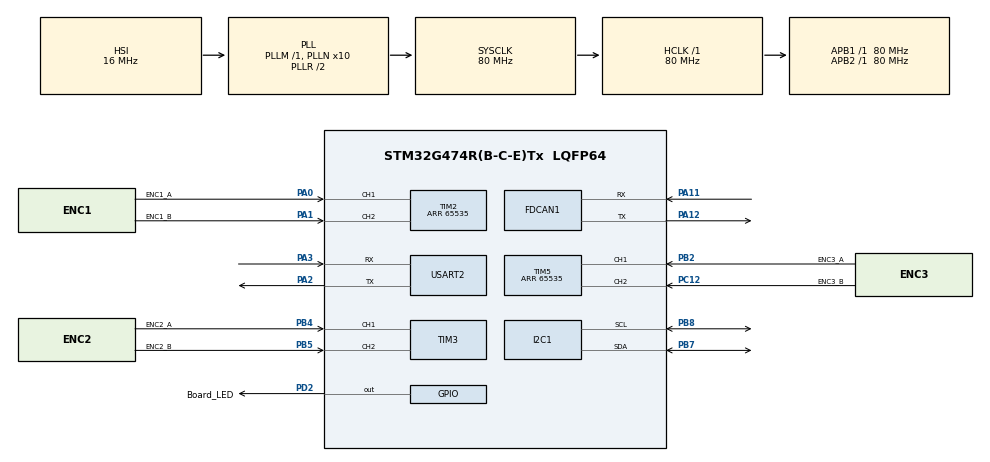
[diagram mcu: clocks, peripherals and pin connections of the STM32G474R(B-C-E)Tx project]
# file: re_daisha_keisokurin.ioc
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FDCAN1.CalculateBaudRateNominal=1000000
FDCAN1.CalculateTimeBitNominal=1000
FDCAN1.CalculateTimeQuantumNominal=50.0
FDCAN1.DataPrescaler=2
FDCAN1.DataTimeSeg1=15
FDCAN1.DataTimeSeg2=4
FDCAN1.FrameFormat=FDCAN_FRAME_FD_BRS
FDCAN1.NominalPrescaler=4
FDCAN1.NominalTimeSeg1=15
FDCAN1.NominalTimeSeg2=4
FDCAN1.StdFiltersNbr=1
I2C1.Timing=0x10D19CE4
Mcu.Family=STM32G4
Mcu.Name=STM32G474R(B-C-E)Tx
Mcu.Package=LQFP64
NVIC.FDCAN1_IT0_IRQn=true\:0\:0\:false\:false\:true\:true\:true\:true
NVIC.FDCAN1_IT1_IRQn=true\:0\:0\:false\:false\:true\:true\:true\:true
NVIC.I2C1_ER_IRQn=true\:0\:0\:false\:false\:true\:true\:true\:true
NVIC.I2C1_EV_IRQn=true\:0\:0\:false\:false\:true\:true\:true\:true
NVIC.PriorityGroup=NVIC_PRIORITYGROUP_4
NVIC.TIM1_UP_TIM16_IRQn=true\:0\:0\:false\:false\:true\:true\:true\:true
NVIC.TIM2_IRQn=true\:0\:0\:false\:false\:true\:true\:true\:true
NVIC.TIM3_IRQn=true\:0\:0\:false\:false\:true\:true\:true\:true
NVIC.TIM5_IRQn=true\:0\:0\:false\:false\:true\:true\:true\:true
NVIC.TIM6_DAC_IRQn=true\:2\:0\:true\:false\:true\:true\:true\:true
NVIC.TIM7_DAC_IRQn=true\:1\:0\:true\:false\:true\:true\:true\:true
NVIC.USART2_IRQn=true\:15\:0\:true\:false\:true\:true\:true\:true
PA0.GPIO_Label=ENC1_A
PA0.GPIO_PuPd=GPIO_PULLUP
PA0.Signal=S_TIM2_CH1
PA1.GPIO_Label=ENC1_B
PA1.GPIO_PuPd=GPIO_PULLUP
PA1.Signal=S_TIM2_CH2
PA11.Mode=FDCAN_Activate
PA11.Signal=FDCAN1_RX
PA12.Mode=FDCAN_Activate
PA12.Signal=FDCAN1_TX
PA2.Mode=Asynchronous
PA2.Signal=USART2_TX
PA3.Mode=Asynchronous
PA3.Signal=USART2_RX
PB2.GPIO_Label=ENC3_A
PB2.GPIO_PuPd=GPIO_PULLUP
PB2.Signal=S_TIM5_CH1
PB4.GPIO_Label=ENC2_A
PB4.GPIO_PuPd=GPIO_PULLUP
PB4.Signal=S_TIM3_CH1
PB5.GPIO_Label=ENC2_B
PB5.GPIO_PuPd=GPIO_PULLUP
PB5.Signal=S_TIM3_CH2
PB7.GPIO_Pu=GPIO_PULLUP
PB7.Mode=I2C
PB7.Signal=I2C1_SDA
PB8-BOOT0.GPIO_Pu=GPIO_PULLUP
PB8-BOOT0.Mode=I2C
PB8-BOOT0.Signal=I2C1_SCL
PC12.GPIO_Label=ENC3_B
PC12.GPIO_PuPd=GPIO_PULLUP
PC12.Signal=S_TIM5_CH2
PD2.GPIO_Label=Board_LED
PD2.Signal=GPIO_Output
ProjectManager.HeapSize=0x200
ProjectManager.StackSize=0x400
ProjectManager.TargetToolchain=STM32CubeIDE
RCC.ADC12Freq_Value=80000000
RCC.ADC345Freq_Value=80000000
RCC.AHBFreq_Value=80000000
RCC.APB1Freq_Value=80000000
RCC.APB1TimFreq_Value=80000000
RCC.APB2Freq_Value=80000000
RCC.APB2TimFreq_Value=80000000
RCC.CortexFreq_Value=80000000
RCC.EXTERNAL_CLOCK_VALUE=12288000
RCC.HCLKFreq_Value=80000000
RCC.HSE_VALUE=8000000
RCC.HSI48_VALUE=48000000
RCC.HSI_VALUE=16000000
RCC.LSE_VALUE=32768
RCC.PLLN=10
RCC.SYSCLKFreq_VALUE=80000000
RCC.SYSCLKSource=RCC_SYSCLKSOURCE_PLLCLK
RCC.USBFreq_Value=80000000
RCC.VCOOutputFreq_Value=160000000
SH.S_TIM2_CH1.0=TIM2_CH1,Encoder_Interface
SH.S_TIM2_CH2.0=TIM2_CH2,Encoder_Interface
SH.S_TIM3_CH1.0=TIM3_CH1,Encoder_Interface
SH.S_TIM3_CH2.0=TIM3_CH2,Encoder_Interface
SH.S_TIM5_CH1.0=TIM5_CH1,Encoder_Interface
SH.S_TIM5_CH2.0=TIM5_CH2,Encoder_Interface
TIM16.PeriodNoDither=7999
TIM16.Prescaler=9
TIM2.PeriodNoDither=65535
TIM5.PeriodNoDither=65535
TIM6.PeriodNoDither=7999
TIM6.Prescaler=99
TIM7.PeriodNoDither=7999
TIM7.Prescaler=9
USART2.VirtualMode-Asynchronous=VM_ASYNC
VP_SYS_VS_DBSignals.Mode=DisableDeadBatterySignals
VP_TIM16_VS_ClockSourceINT.Mode=Enable_Timer
VP_TIM6_VS_ClockSourceINT.Mode=Enable_Timer
VP_TIM7_VS_ClockSourceINT.Mode=Enable_Timer
board=custom

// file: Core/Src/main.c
/* USER CODE BEGIN Header */
/**
  ******************************************************************************
  * @file           : main.c
  * @brief          : Main program body
  ******************************************************************************
  * @attention
  *
  * Copyright (c) 2024 STMicroelectronics.
  * All rights reserved.
  *
  * This software is licensed under terms that can be found in the LICENSE file
  * in the root directory of this software component.
  * If no LICENSE file comes with this software, it is provided AS-IS.
  *
  ******************************************************************************
  */
/* USER CODE END Header */
#include "main.h"

/* USER CODE BEGIN Includes */
#include <stdio.h>
#include <string.h>
#include <math.h>
#include "t_semi_can_lib.h"
/* USER CODE END Includes */

/* USER CODE BEGIN PTD */
typedef struct {
	volatile int16_t pulse;
	volatile float vel;//rad/s
}Encoder;
/* USER CODE END PTD */

/* USER CODE BEGIN PD */
#define TRUE 1
#define FALSE 0

#define ERROR_STATE -1
#define INITIALIZE_STATE 0
#define MOVE_STATE 1

#define STATE_CANID_P_DOWN 0x100
#define STATE_CANID_P_UP 0x101

#define ID 2

#define STATE_CANID_DOWN STATE_CANID_P_DOWN + (ID*16)
#define STATE_CANID_UP STATE_CANID_P_UP + (ID*16)

#define ODOMETRY_SENSOR_SENSOR 0x200
#define VELOCITY_SENSOR 0x201

#define r 60//mm
#define R 144//mm
/* USER CODE END PD */

FDCAN_HandleTypeDef hfdcan1;

I2C_HandleTypeDef hi2c1;

TIM_HandleTypeDef htim2;
TIM_HandleTypeDef htim3;
TIM_HandleTypeDef htim5;
TIM_HandleTypeDef htim6;
TIM_HandleTypeDef htim7;
TIM_HandleTypeDef htim16;

UART_HandleTypeDef huart2;

/* USER CODE BEGIN PV */

FDCAN_TxHeaderTypeDef TxHeader;
FDCAN_RxHeaderTypeDef RxHeader;

int8_t state = ERROR_STATE;
int8_t sub_state;

volatile float x = 0, y = 0;//mm
volatile float theta = 0;//rad

volatile float vx = 0, vy = 0;//m/s
volatile float omega = 0;//rad

Encoder encoder[3] = {};

int8_t flag_cal = 1;
/* USER CODE END PV */

void SystemClock_Config(void);
static void MX_GPIO_Init(void);
static void MX_FDCAN1_Init(void);
static void MX_USART2_UART_Init(void);
static void MX_TIM6_Init(void);
static void MX_TIM7_Init(void);
static void MX_TIM16_Init(void);
static void MX_I2C1_Init(void);
static void MX_TIM2_Init(void);
static void MX_TIM3_Init(void);
static void MX_TIM5_Init(void);
/* USER CODE BEGIN PFP */
void CAN_SEND_printf(uint32_t, uint8_t*);
void CAN(uint32_t, float32_t*);
void interboard_comms_CAN_RxTxSettings_nhk2025_init(void);

int16_t read_encoder_value(int16_t num);
void vel_calc(float Theta, float w1, float w2, float w3, float *Vx, float *Vy, float *Omega);
void zahyo_CAN(float X, float Y, float Theta);
void vel_CAN(float Vx, float Vy, float Omega);

/* USER CODE END PFP */

/* USER CODE BEGIN 0 */
void HAL_FDCAN_RxFifo1Callback(FDCAN_HandleTypeDef *hfdcan, uint32_t RxFifo1ITs){
	if (RESET != (RxFifo1ITs & FDCAN_IT_RX_FIFO1_NEW_MESSAGE)) {

	        /* Retrieve Rx messages from RX FIFO0 */
		uint8_t RxData[64] = {};
		if (HAL_OK != HAL_FDCAN_GetRxMessage(&hfdcan1, FDCAN_RX_FIFO1, &RxHeader, RxData)) {
			printf("fdcan_getrxmessage is error\r\n");
			Error_Handler();
		}
		float32_t RxData_f32[16] = {};
		convert_u8_f32(RxData, RxData_f32);

		if (STATE_CANID_DOWN == RxHeader.Identifier) {
			if (INITIALIZE_STATE == RxData_f32[0]) {
				state = RxData_f32[0];
			}
			else if (ERROR_STATE == RxData_f32[0]) {
				state = RxData_f32[0];
			}
		}
	}
}

void HAL_TIM_PeriodElapsedCallback(TIM_HandleTypeDef *htim){
	if (&htim6 == htim) {
		float32_t TxData_f32[16] = {};
		TxData_f32[0] = (float32_t)state;
		TxData_f32[1] = (float32_t)sub_state;
		CAN(STATE_CANID_UP, TxData_f32);
	}
	else if (&htim7 == htim) {

	}
	else if (&htim16 == htim) {
		float dt = 0.001;//s
		float ppr[3] = {1000, 1000, 1000};
		for (int i = 0; i < 3; i++) {
			encoder[i].pulse = read_encoder_value(i);
			encoder[i].vel = 2*M_PI*((float)encoder[i].pulse/ppr[i])/dt;
		}
		float v_v[3] = {};
		vel_calc(theta, encoder[0].vel, encoder[1].vel, encoder[2].vel, &v_v[0], &v_v[1], &v_v[2]);
		if (0 == flag_cal) {
			x 	  += v_v[0] * dt;
			y 	  += v_v[1] * dt;
			theta += v_v[2] * dt	;
		}
		else {
			x 	  += (vx 	+ v_v[0])/2*dt;
			y 	  += (vy 	+ v_v[1])/2*dt;
			theta += (omega + v_v[2])/2*dt;
		}
		vx 	  = v_v[0];
		vy 	  = v_v[1];
		omega = v_v[2];
	}
}

int _write(int file, char *ptr, int len)
{
    HAL_UART_Transmit(&huart2,(uint8_t *)ptr,len,10);
    return len;
}
/* USER CODE END 0 */

int main(void)
{

  /* USER CODE BEGIN 1 */
	setbuf(stdout, NULL);
  /* USER CODE END 1 */

  /* MCU Configuration--------------------------------------------------------*/

  /* Reset of all peripherals, Initializes the Flash interface and the Systick. */
  HAL_Init();

  /* Configure the system clock */
  SystemClock_Config();

  /* Initialize all configured peripherals */
  MX_GPIO_Init();
  MX_FDCAN1_Init();
  MX_USART2_UART_Init();
  MX_TIM6_Init();
  MX_TIM7_Init();
  MX_TIM16_Init();
  MX_I2C1_Init();
  MX_TIM2_Init();
  MX_TIM3_Init();
  MX_TIM5_Init();
  /* USER CODE BEGIN 2 */
  printf("start\r\n");
  printf("can start\r\n");
  //FDCAN_RxTxSettings();
  interboard_comms_CAN_RxTxSettings_nhk2025_init();
  HAL_TIM_Base_Start_IT(&htim6);
  HAL_TIM_Base_Start_IT(&htim7);
  HAL_TIM_Base_Start_IT(&htim16);
  HAL_TIM_Encoder_Start(&htim2, TIM_CHANNEL_ALL);
  HAL_TIM_Encoder_Start(&htim3, TIM_CHANNEL_ALL);
  HAL_TIM_Encoder_Start(&htim5, TIM_CHANNEL_ALL);
  /* USER CODE END 2 */

  /* Infinite loop */
  /* USER CODE BEGIN WHILE */
  while (1)
  {
	  if (ERROR_STATE == state) {
		  state = MOVE_STATE;
	  }
	  else if (INITIALIZE_STATE == state) {

	  }
	  else if (MOVE_STATE == state) {
		  printf("%f %f %f\r\n", x, y, theta);
		  //for (int i = 0; i < 3; i++) printf("%d ", encoder[i].pulse);
		  zahyo_CAN(x, y, theta);
		  vel_CAN(vx, vy, omega);
	  }
	  printf("\r\n");
	  HAL_Delay(10);
    /* USER CODE END WHILE */

  }
}

void SystemClock_Config(void)
{
  RCC_OscInitTypeDef RCC_OscInitStruct = {0};
  RCC_ClkInitTypeDef RCC_ClkInitStruct = {0};

  /** Configure the main internal regulator output voltage
  */
  HAL_PWREx_ControlVoltageScaling(PWR_REGULATOR_VOLTAGE_SCALE1);

  /** Initializes the RCC Oscillators according to the specified parameters
  * in the RCC_OscInitTypeDef structure.
  */
  RCC_OscInitStruct.OscillatorType = RCC_OSCILLATORTYPE_HSI;
  RCC_OscInitStruct.HSIState = RCC_HSI_ON;
  RCC_OscInitStruct.HSICalibrationValue = RCC_HSICALIBRATION_DEFAULT;
  RCC_OscInitStruct.PLL.PLLState = RCC_PLL_ON;
  RCC_OscInitStruct.PLL.PLLSource = RCC_PLLSOURCE_HSI;
  RCC_OscInitStruct.PLL.PLLM = RCC_PLLM_DIV1;
  RCC_OscInitStruct.PLL.PLLN = 10;
  RCC_OscInitStruct.PLL.PLLP = RCC_PLLP_DIV2;
  RCC_OscInitStruct.PLL.PLLQ = RCC_PLLQ_DIV2;
  RCC_OscInitStruct.PLL.PLLR = RCC_PLLR_DIV2;
  if (HAL_RCC_OscConfig(&RCC_OscInitStruct) != HAL_OK)
  {
    Error_Handler();
  }

  /** Initializes the CPU, AHB and APB buses clocks
  */
  RCC_ClkInitStruct.ClockType = RCC_CLOCKTYPE_HCLK|RCC_CLOCKTYPE_SYSCLK
                              |RCC_CLOCKTYPE_PCLK1|RCC_CLOCKTYPE_PCLK2;
  RCC_ClkInitStruct.SYSCLKSource = RCC_SYSCLKSOURCE_PLLCLK;
  RCC_ClkInitStruct.AHBCLKDivider = RCC_SYSCLK_DIV1;
  RCC_ClkInitStruct.APB1CLKDivider = RCC_HCLK_DIV1;
  RCC_ClkInitStruct.APB2CLKDivider = RCC_HCLK_DIV1;

  if (HAL_RCC_ClockConfig(&RCC_ClkInitStruct, FLASH_LATENCY_2) != HAL_OK)
  {
    Error_Handler();
  }
}

static void MX_FDCAN1_Init(void)
{

  hfdcan1.Instance = FDCAN1;
  hfdcan1.Init.ClockDivider = FDCAN_CLOCK_DIV1;
  hfdcan1.Init.FrameFormat = FDCAN_FRAME_FD_BRS;
  hfdcan1.Init.Mode = FDCAN_MODE_NORMAL;
  hfdcan1.Init.AutoRetransmission = DISABLE;
  hfdcan1.Init.TransmitPause = DISABLE;
  hfdcan1.Init.ProtocolException = DISABLE;
  hfdcan1.Init.NominalPrescaler = 4;
  hfdcan1.Init.NominalSyncJumpWidth = 1;
  hfdcan1.Init.NominalTimeSeg1 = 15;
  hfdcan1.Init.NominalTimeSeg2 = 4;
  hfdcan1.Init.DataPrescaler = 2;
  hfdcan1.Init.DataSyncJumpWidth = 1;
  hfdcan1.Init.DataTimeSeg1 = 15;
  hfdcan1.Init.DataTimeSeg2 = 4;
  hfdcan1.Init.StdFiltersNbr = 1;
  hfdcan1.Init.ExtFiltersNbr = 0;
  hfdcan1.Init.TxFifoQueueMode = FDCAN_TX_FIFO_OPERATION;
  if (HAL_FDCAN_Init(&hfdcan1) != HAL_OK)
  {
    Error_Handler();
  }

}

static void MX_I2C1_Init(void)
{

  hi2c1.Instance = I2C1;
  hi2c1.Init.Timing = 0x10D19CE4;
  hi2c1.Init.OwnAddress1 = 0;
  hi2c1.Init.AddressingMode = I2C_ADDRESSINGMODE_7BIT;
  hi2c1.Init.DualAddressMode = I2C_DUALADDRESS_DISABLE;
  hi2c1.Init.OwnAddress2 = 0;
  hi2c1.Init.OwnAddress2Masks = I2C_OA2_NOMASK;
  hi2c1.Init.GeneralCallMode = I2C_GENERALCALL_DISABLE;
  hi2c1.Init.NoStretchMode = I2C_NOSTRETCH_DISABLE;
  if (HAL_I2C_Init(&hi2c1) != HAL_OK)
  {
    Error_Handler();
  }

  /** Configure Analogue filter
  */
  if (HAL_I2CEx_ConfigAnalogFilter(&hi2c1, I2C_ANALOGFILTER_ENABLE) != HAL_OK)
  {
    Error_Handler();
  }

  /** Configure Digital filter
  */
  if (HAL_I2CEx_ConfigDigitalFilter(&hi2c1, 0) != HAL_OK)
  {
    Error_Handler();
  }

}

static void MX_TIM2_Init(void)
{

  TIM_Encoder_InitTypeDef sConfig = {0};
  TIM_MasterConfigTypeDef sMasterConfig = {0};

  htim2.Instance = TIM2;
  htim2.Init.Prescaler = 0;
  htim2.Init.CounterMode = TIM_COUNTERMODE_UP;
  htim2.Init.Period = 65535;
  htim2.Init.ClockDivision = TIM_CLOCKDIVISION_DIV1;
  htim2.Init.AutoReloadPreload = TIM_AUTORELOAD_PRELOAD_DISABLE;
  sConfig.EncoderMode = TIM_ENCODERMODE_TI1;
  sConfig.IC1Polarity = TIM_ICPOLARITY_RISING;
  sConfig.IC1Selection = TIM_ICSELECTION_DIRECTTI;
  sConfig.IC1Prescaler = TIM_ICPSC_DIV1;
  sConfig.IC1Filter = 0;
  sConfig.IC2Polarity = TIM_ICPOLARITY_RISING;
  sConfig.IC2Selection = TIM_ICSELECTION_DIRECTTI;
  sConfig.IC2Prescaler = TIM_ICPSC_DIV1;
  sConfig.IC2Filter = 0;
  if (HAL_TIM_Encoder_Init(&htim2, &sConfig) != HAL_OK)
  {
    Error_Handler();
  }
  sMasterConfig.MasterOutputTrigger = TIM_TRGO_RESET;
  sMasterConfig.MasterSlaveMode = TIM_MASTERSLAVEMODE_DISABLE;
  if (HAL_TIMEx_MasterConfigSynchronization(&htim2, &sMasterConfig) != HAL_OK)
  {
    Error_Handler();
  }

}

static void MX_TIM3_Init(void)
{

  TIM_Encoder_InitTypeDef sConfig = {0};
  TIM_MasterConfigTypeDef sMasterConfig = {0};

  htim3.Instance = TIM3;
  htim3.Init.Prescaler = 0;
  htim3.Init.CounterMode = TIM_COUNTERMODE_UP;
  htim3.Init.Period = 65535;
  htim3.Init.ClockDivision = TIM_CLOCKDIVISION_DIV1;
  htim3.Init.AutoReloadPreload = TIM_AUTORELOAD_PRELOAD_DISABLE;
  sConfig.EncoderMode = TIM_ENCODERMODE_TI1;
  sConfig.IC1Polarity = TIM_ICPOLARITY_RISING;
  sConfig.IC1Selection = TIM_ICSELECTION_DIRECTTI;
  sConfig.IC1Prescaler = TIM_ICPSC_DIV1;
  sConfig.IC1Filter = 0;
  sConfig.IC2Polarity = TIM_ICPOLARITY_RISING;
  sConfig.IC2Selection = TIM_ICSELECTION_DIRECTTI;
  sConfig.IC2Prescaler = TIM_ICPSC_DIV1;
  sConfig.IC2Filter = 0;
  if (HAL_TIM_Encoder_Init(&htim3, &sConfig) != HAL_OK)
  {
    Error_Handler();
  }
  sMasterConfig.MasterOutputTrigger = TIM_TRGO_RESET;
  sMasterConfig.MasterSlaveMode = TIM_MASTERSLAVEMODE_DISABLE;
  if (HAL_TIMEx_MasterConfigSynchronization(&htim3, &sMasterConfig) != HAL_OK)
  {
    Error_Handler();
  }

}

static void MX_TIM5_Init(void)
{

  TIM_Encoder_InitTypeDef sConfig = {0};
  TIM_MasterConfigTypeDef sMasterConfig = {0};

  htim5.Instance = TIM5;
  htim5.Init.Prescaler = 0;
  htim5.Init.CounterMode = TIM_COUNTERMODE_UP;
  htim5.Init.Period = 65535;
  htim5.Init.ClockDivision = TIM_CLOCKDIVISION_DIV1;
  htim5.Init.AutoReloadPreload = TIM_AUTORELOAD_PRELOAD_DISABLE;
  sConfig.EncoderMode = TIM_ENCODERMODE_TI1;
  sConfig.IC1Polarity = TIM_ICPOLARITY_RISING;
  sConfig.IC1Selection = TIM_ICSELECTION_DIRECTTI;
  sConfig.IC1Prescaler = TIM_ICPSC_DIV1;
  sConfig.IC1Filter = 0;
  sConfig.IC2Polarity = TIM_ICPOLARITY_RISING;
  sConfig.IC2Selection = TIM_ICSELECTION_DIRECTTI;
  sConfig.IC2Prescaler = TIM_ICPSC_DIV1;
  sConfig.IC2Filter = 0;
  if (HAL_TIM_Encoder_Init(&htim5, &sConfig) != HAL_OK)
  {
    Error_Handler();
  }
  sMasterConfig.MasterOutputTrigger = TIM_TRGO_RESET;
  sMasterConfig.MasterSlaveMode = TIM_MASTERSLAVEMODE_DISABLE;
  if (HAL_TIMEx_MasterConfigSynchronization(&htim5, &sMasterConfig) != HAL_OK)
  {
    Error_Handler();
  }

}

static void MX_TIM6_Init(void)
{

  TIM_MasterConfigTypeDef sMasterConfig = {0};

  htim6.Instance = TIM6;
  htim6.Init.Prescaler = 99;
  htim6.Init.CounterMode = TIM_COUNTERMODE_UP;
  htim6.Init.Period = 7999;
  htim6.Init.AutoReloadPreload = TIM_AUTORELOAD_PRELOAD_DISABLE;
  if (HAL_TIM_Base_Init(&htim6) != HAL_OK)
  {
    Error_Handler();
  }
  sMasterConfig.MasterOutputTrigger = TIM_TRGO_RESET;
  sMasterConfig.MasterSlaveMode = TIM_MASTERSLAVEMODE_DISABLE;
  if (HAL_TIMEx_MasterConfigSynchronization(&htim6, &sMasterConfig) != HAL_OK)
  {
    Error_Handler();
  }

}

static void MX_TIM7_Init(void)
{

  TIM_MasterConfigTypeDef sMasterConfig = {0};

  htim7.Instance = TIM7;
  htim7.Init.Prescaler = 9;
  htim7.Init.CounterMode = TIM_COUNTERMODE_UP;
  htim7.Init.Period = 7999;
  htim7.Init.AutoReloadPreload = TIM_AUTORELOAD_PRELOAD_DISABLE;
  if (HAL_TIM_Base_Init(&htim7) != HAL_OK)
  {
    Error_Handler();
  }
  sMasterConfig.MasterOutputTrigger = TIM_TRGO_RESET;
  sMasterConfig.MasterSlaveMode = TIM_MASTERSLAVEMODE_DISABLE;
  if (HAL_TIMEx_MasterConfigSynchronization(&htim7, &sMasterConfig) != HAL_OK)
  {
    Error_Handler();
  }

}

static void MX_TIM16_Init(void)
{

  htim16.Instance = TIM16;
  htim16.Init.Prescaler = 9;
  htim16.Init.CounterMode = TIM_COUNTERMODE_UP;
  htim16.Init.Period = 7999;
  htim16.Init.ClockDivision = TIM_CLOCKDIVISION_DIV1;
  htim16.Init.RepetitionCounter = 0;
  htim16.Init.AutoReloadPreload = TIM_AUTORELOAD_PRELOAD_DISABLE;
  if (HAL_TIM_Base_Init(&htim16) != HAL_OK)
  {
    Error_Handler();
  }

}

static void MX_USART2_UART_Init(void)
{

  huart2.Instance = USART2;
  huart2.Init.BaudRate = 115200;
  huart2.Init.WordLength = UART_WORDLENGTH_8B;
  huart2.Init.StopBits = UART_STOPBITS_1;
  huart2.Init.Parity = UART_PARITY_NONE;
  huart2.Init.Mode = UART_MODE_TX_RX;
  huart2.Init.HwFlowCtl = UART_HWCONTROL_NONE;
  huart2.Init.OverSampling = UART_OVERSAMPLING_16;
  huart2.Init.OneBitSampling = UART_ONE_BIT_SAMPLE_DISABLE;
  huart2.Init.ClockPrescaler = UART_PRESCALER_DIV1;
  huart2.AdvancedInit.AdvFeatureInit = UART_ADVFEATURE_NO_INIT;
  if (HAL_UART_Init(&huart2) != HAL_OK)
  {
    Error_Handler();
  }
  if (HAL_UARTEx_SetTxFifoThreshold(&huart2, UART_TXFIFO_THRESHOLD_1_8) != HAL_OK)
  {
    Error_Handler();
  }
  if (HAL_UARTEx_SetRxFifoThreshold(&huart2, UART_RXFIFO_THRESHOLD_1_8) != HAL_OK)
  {
    Error_Handler();
  }
  if (HAL_UARTEx_DisableFifoMode(&huart2) != HAL_OK)
  {
    Error_Handler();
  }

}

static void MX_GPIO_Init(void)
{
  GPIO_InitTypeDef GPIO_InitStruct = {0};

  /* GPIO Ports Clock Enable */
  __HAL_RCC_GPIOA_CLK_ENABLE();
  __HAL_RCC_GPIOB_CLK_ENABLE();
  __HAL_RCC_GPIOC_CLK_ENABLE();
  __HAL_RCC_GPIOD_CLK_ENABLE();

  /*Configure GPIO pin Output Level */
  HAL_GPIO_WritePin(Board_LED_GPIO_Port, Board_LED_Pin, GPIO_PIN_RESET);

  /*Configure GPIO pin : Board_LED_Pin */
  GPIO_InitStruct.Pin = Board_LED_Pin;
  GPIO_InitStruct.Mode = GPIO_MODE_OUTPUT_PP;
  GPIO_InitStruct.Pull = GPIO_NOPULL;
  GPIO_InitStruct.Speed = GPIO_SPEED_FREQ_LOW;
  HAL_GPIO_Init(Board_LED_GPIO_Port, &GPIO_InitStruct);

}

/* USER CODE BEGIN 4 */
void CAN_SEND_printf(uint32_t CANID, uint8_t *txdata) {
	if(CAN_SEND(CANID, txdata, &hfdcan1, &TxHeader) < 0) {
		printf("can_addmessage error\r\n");
		Error_Handler();
	}
}

void CAN(uint32_t CANID, float32_t *txdata_f32) {
	uint8_t txdata[64] = {};
	convert_f32_u8(txdata_f32, txdata);
	CAN_SEND_printf(CANID, txdata);
}

void interboard_comms_CAN_RxTxSettings_nhk2025_init(void) {
	  FDCAN_FilterTypeDef FDCAN_Filter_settings;
	  int return_value = interboard_comms_CAN_RxTxSettings_nhk2025(&hfdcan1, &FDCAN_Filter_settings, &TxHeader);
	  switch (return_value) {
	  	  case -1:
	  		  printf("fdcan_configfilter is error\r\n");
	  		  break;
	  	  case -2:
	  		  printf("fdcan_configglobalfilter is error\r\n");
	  		  break;
	  	  case -3:
	  		  printf("fdcan_start is error\r\n");
	  		  break;
	  	  case -4:
	  		  printf("fdcan_activatenotification is error\r\n");
	  		  break;
	  }
	  if (return_value < 0) Error_Handler();
	  printf("can_init success\r\n");
}

int16_t read_encoder_value(int16_t num) {
	  int32_t count_t = 0;
	  uint32_t enc_buff = 0;
	  switch(num) {
		  case 0:
			  enc_buff = TIM2->CNT;
			  TIM2->CNT = 0;
			  break;
		  case 1:
			  enc_buff = TIM3->CNT;
			  TIM3->CNT = 0;
			  break;
		  case 2:
			  enc_buff = TIM5->CNT;
			  TIM5->CNT = 0;
			  break;
		  default:
			  return 0;
	  }

	  if (enc_buff > 0x8fffffff)
	  {
	    count_t = (int32_t)enc_buff*-1;
	  }
	  else
	  {
	    count_t = (int32_t)enc_buff;
	  }
	  return (int16_t)count_t;
}

void vel_calc(float Theta, float w1, float w2, float w3, float *Vx, float *Vy, float *Omega){

	float w[3] = {w1, w2, w3};

	float sint = sin(Theta);
	float cost = cos(Theta);

	float a[3][3] = {
			{-sint,  cost, R},
			{ sint, -cost, R},
			{ cost,  sint, R}
	};

	float det = a[0][0]*a[1][1]*a[2][2];
	det += a[1][0]*a[2][1]*a[0][2];
	det += a[2][0]*a[0][1]*a[1][2];
	det -= a[2][0]*a[1][1]*a[0][2];
	det -= a[1][0]*a[0][1]*a[2][2];
	det -= a[0][0]*a[2][1]*a[1][2];

	float a_in[3][3] = {
			{( a[1][1]*a[2][2] - a[1][2]*a[2][1])/det, (-a[0][1]*a[2][2] + a[0][2]*a[2][1])/det, ( a[0][1]*a[1][2] - a[0][2]*a[1][1])/det},
			{(-a[1][0]*a[2][2] + a[1][2]*a[2][0])/det, ( a[0][0]*a[2][2] - a[0][2]*a[2][0])/det, (-a[0][0]*a[1][2] + a[0][2]*a[1][0])/det},
			{( a[1][0]*a[2][1] - a[1][1]*a[2][0])/det, (-a[0][0]*a[2][1] + a[0][1]*a[2][0])/det, ( a[0][0]*a[1][1] - a[0][1]*a[1][0])/det}
	};

	*Vx =    r*(a_in[0][0]*w[0] + a_in[0][1]*w[1] + a_in[0][2]*w[2])/2;
	*Vy =    r*(a_in[1][0]*w[0] + a_in[1][1]*w[1] + a_in[1][2]*w[2])/2;
	*Omega = r*(a_in[2][0]*w[0] + a_in[2][1]*w[1] + a_in[2][2]*w[2])/2;
}
void zahyo_CAN(float X, float Y, float Theta) {
	float32_t Txdata[16]  = {};
	Txdata[0] = X;
	Txdata[1] = Y;
	Txdata[2] = Theta;
	CAN(ODOMETRY_SENSOR_SENSOR, Txdata);
}
void vel_CAN(float Vx, float Vy, float Omega) {
	float32_t Txdata[16]  = {};
	Txdata[0] = Vx;
	Txdata[1] = Vy;
	Txdata[2] = Omega;
	CAN(VELOCITY_SENSOR, Txdata);
}
/* USER CODE END 4 */

void Error_Handler(void)
{
  __disable_irq();
  while (1)
  {
  }
}
